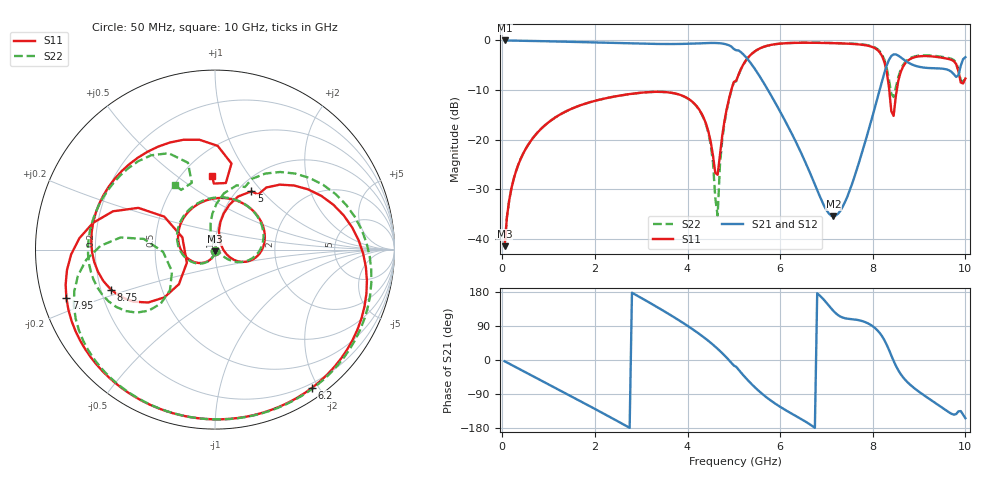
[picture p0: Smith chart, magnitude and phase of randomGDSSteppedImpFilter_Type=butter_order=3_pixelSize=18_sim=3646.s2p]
! freq	dB(S11)	phase(S11)	dB(S12)	phase(S12)
!  dB(S21)	phase(S21)	dB(S22)	phase(S22)
!S-par simulation data
#  GHz  S  DB  R 50
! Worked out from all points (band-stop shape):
!   200 points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, 50 MHz to 10 GHz, reference 50 ohm
!   highest |S21| = -0.01 dB at 50 MHz (marker M1); lowest = -35.5 dB at 7.15 GHz (marker M2)
!   |S21| within 3 dB of the highest: start of sweep to 5.224 GHz; 8.422 GHz to 8.54 GHz (118 MHz wide, 1.39 % of centre)
!   lowest |S11| = -41.5 dB at 50 MHz (marker M3), VSWR 1.02, Z = 50 - j0.838 ohm
!   |S11| at or under -10 dB: start of sweep to 4.945 GHz; 8.356 GHz to 8.519 GHz (163.3 MHz wide, 1.94 % of centre)
!   |S22| runs from -41.5 to -0.5 dB; largest |S21 - S12| = 0
!   S11 on the Smith chart (normalised r, x): 50 MHz: 1.00, -0.02; 5 GHz: 1.15, +0.87; 6.2 GHz: 0.14, -1.91; 7.95 GHz: 0.07, -0.16; 8.75 GHz: 0.24, -0.18; 10 GHz: 0.69, +0.68
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0.05  -41.52 -91.7  -0.01 -3.3  -0.01 -3.3  -41.52 -91.5
0.2  -29.74 -102.8  -0.03 -13.0  -0.03 -13.0  -29.74 -102.3
0.5  -21.98 -123.4  -0.07 -32.3  -0.07 -32.3  -21.98 -122.0
1.75  -12.88 153.8  -0.37 -112.8  -0.37 -112.8  -12.89 158.9
2.6  -11.04 97.0  -0.57 -168.9  -0.57 -168.9  -11.04 103.8
3.4  -10.37 42.2  -0.72 135.6  -0.72 135.6  -10.38 48.8
4.35  -15.64 -24.6  -0.55 60.1  -0.55 60.1  -15.77 -25.2
4.5  -20.44 -27.6  -0.51 45.5  -0.51 45.5  -21.03 -37.1
4.65  -27.11 42.8  -0.54 29.6  -0.54 29.6  -35.43 83.7
4.75  -19.18 78.3  -0.63 18.0  -0.63 18.0  -19.99 104.1
5  -8.35 58.1  -1.72 -14.6  -1.72 -14.6  -8.45 71.3
5.05  -8.16 52.0  -1.99 -17.9  -1.99 -17.9  -8.26 64.5
5.6  -1.45 -6.7  -7.87 -88.1  -7.87 -88.1  -1.46 2.4
6.2  -0.53 -55.0  -17.89 -138.2  -17.89 -138.2  -0.52 -46.8
6.7  -0.48 -85.1  -27.95 -174.7  -27.95 -174.7  -0.46 -76.8
7.15  -0.55 -109.8  -35.50 129.4  -35.50 129.4  -0.52 -100.9
7.95  -1.20 -162.0  -16.77 93.0  -16.77 93.0  -1.10 -149.3
8.35  -9.44 147.0  -3.92 26.7  -3.92 26.7  -7.94 171.5
8.45  -15.23 -155.0  -2.82 -2.3  -2.82 -2.3  -11.42 -153.1
8.75  -4.14 -158.9  -4.38 -58.6  -4.38 -58.6  -3.93 -149.9
9.6  -3.67 118.9  -5.87 -134.3  -5.87 -134.3  -3.47 142.0
10  -7.69 92.3  -3.39 -153.5  -3.39 -153.5  -7.46 121.7
